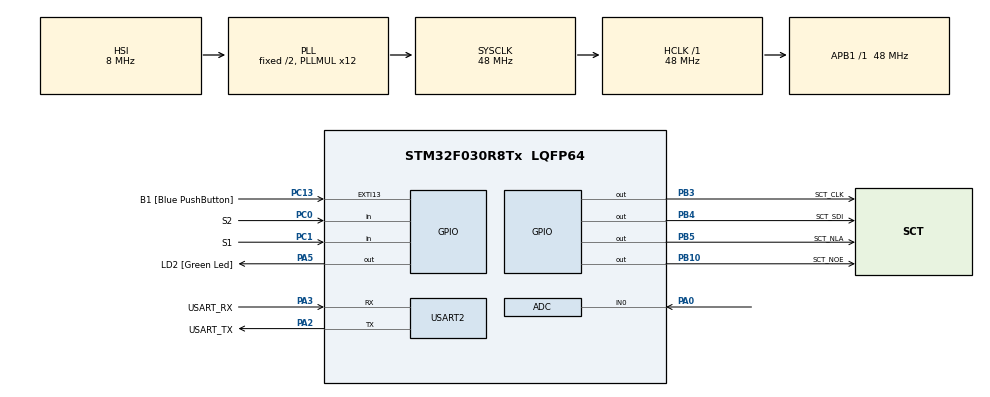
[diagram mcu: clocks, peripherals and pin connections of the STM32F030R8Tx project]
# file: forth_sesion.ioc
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ADC.ContinuousConvMode=ENABLE
ADC.Overrun=ADC_OVR_DATA_OVERWRITTEN
ADC.SamplingTime=ADC_SAMPLETIME_239CYCLES_5
Mcu.Family=STM32F0
Mcu.Name=STM32F030R8Tx
Mcu.Package=LQFP64
NVIC.ADC1_IRQn=true\:0\:0\:false\:false\:true\:true\:true\:true
PA0.Mode=IN0
PA0.Signal=ADC_IN0
PA13.GPIO_Label=TMS
PA13.Mode=Serial_Wire
PA13.Signal=SYS_SWDIO
PA14.GPIO_Label=TCK
PA14.Mode=Serial_Wire
PA14.Signal=SYS_SWCLK
PA2.GPIO_Label=USART_TX
PA2.GPIO_Mode=GPIO_MODE_AF_PP
PA2.GPIO_PuPd=GPIO_NOPULL
PA2.GPIO_Speed=GPIO_SPEED_FREQ_LOW
PA2.Mode=Asynchronous
PA2.Signal=USART2_TX
PA3.GPIO_Label=USART_RX
PA3.GPIO_Mode=GPIO_MODE_AF_PP
PA3.GPIO_PuPd=GPIO_NOPULL
PA3.GPIO_Speed=GPIO_SPEED_FREQ_LOW
PA3.Mode=Asynchronous
PA3.Signal=USART2_RX
PA5.GPIO_Label=LD2 [Green Led]
PA5.GPIO_Mode=GPIO_MODE_OUTPUT_PP
PA5.GPIO_PuPd=GPIO_NOPULL
PA5.GPIO_Speed=GPIO_SPEED_FREQ_LOW
PA5.Signal=GPIO_Output
PB10.GPIO_Label=SCT_NOE
PB10.Signal=GPIO_Output
PB3.GPIO_Label=SCT_CLK
PB3.Signal=GPIO_Output
PB4.GPIO_Label=SCT_SDI
PB4.Signal=GPIO_Output
PB5.GPIO_Label=SCT_NLA
PB5.Signal=GPIO_Output
PC0.GPIO_Label=S2
PC0.GPIO_PuPd=GPIO_PULLUP
PC0.Signal=GPIO_Input
PC1.GPIO_Label=S1
PC1.GPIO_PuPd=GPIO_PULLUP
PC1.Signal=GPIO_Input
PC13.GPIO_Label=B1 [Blue PushButton]
PC13.GPIO_ModeDefaultEXTI=GPIO_MODE_IT_FALLING
PC13.Signal=GPXTI13
PC14-OSC32_IN.Mode=LSE-External-Oscillator
PC14-OSC32_IN.Signal=RCC_OSC32_IN
PC15-OSC32_OUT.Mode=LSE-External-Oscillator
PC15-OSC32_OUT.Signal=RCC_OSC32_OUT
PF0-OSC_IN.Mode=HSE-External-Clock-Source
PF0-OSC_IN.Signal=RCC_OSC_IN
PF1-OSC_OUT.Signal=RCC_OSC_OUT
ProjectManager.HeapSize=0x200
ProjectManager.StackSize=0x400
ProjectManager.TargetToolchain=STM32CubeIDE
RCC.AHBFreq_Value=48000000
RCC.APB1Freq_Value=48000000
RCC.APB1TimFreq_Value=48000000
RCC.HCLKFreq_Value=48000000
RCC.PLLMUL=RCC_PLL_MUL12
RCC.SYSCLKFreq_VALUE=48000000
RCC.SYSCLKSource=RCC_SYSCLKSOURCE_PLLCLK
USART2.VirtualMode-Asynchronous=VM_ASYNC
VP_ADC_TempSens_Input.Mode=IN-TempSens
VP_ADC_Vref_Input.Mode=IN-Vrefint
board=NUCLEO-F030R8

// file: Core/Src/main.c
/* USER CODE BEGIN Header */
/**
 ******************************************************************************
 * @file           : main.c
 * @brief          : Main program body
 ******************************************************************************
 * @attention
 *
 * Copyright (c) 2024 STMicroelectronics.
 * All rights reserved.
 *
 * This software is licensed under terms that can be found in the LICENSE file
 * in the root directory of this software component.
 * If no LICENSE file comes with this software, it is provided AS-IS.
 *
 ******************************************************************************
 */
/* USER CODE END Header */
#include "main.h"

/* USER CODE BEGIN Includes */
#include "sct.h"
/* USER CODE END Includes */

/* USER CODE BEGIN PD */
#define DebounceDelay 50
/* Temperature sensor calibration value address */
#define TEMP110_CAL_ADDR ((uint16_t*) ((uint32_t) 0x1FFFF7C2))
#define TEMP30_CAL_ADDR ((uint16_t*) ((uint32_t) 0x1FFFF7B8))
#define VREFINT_CAL_ADDR ((uint16_t*) ((uint32_t) 0x1FFFF7BA))

/* USER CODE END PD */

ADC_HandleTypeDef hadc;

UART_HandleTypeDef huart2;

/* USER CODE BEGIN PV */
static volatile uint32_t raw_pot = 0;
static volatile uint32_t raw_volt;
static volatile uint32_t raw_temp;
static enum { SHOW_POT, SHOW_VOLT, SHOW_TEMP, SHOW_HAZARD } state = SHOW_POT;

/* USER CODE END PV */

void SystemClock_Config(void);
static void MX_GPIO_Init(void);
static void MX_USART2_UART_Init(void);
static void MX_ADC_Init(void);

/* USER CODE BEGIN 0 */
void HAL_ADC_ConvCpltCallback(ADC_HandleTypeDef* hadc)
{
	static uint32_t avg_pot;
	static uint8_t chanel;

	if (chanel== 0){
		raw_pot = avg_pot >> 12;
		avg_pot -= raw_pot;
		avg_pot += HAL_ADC_GetValue(hadc);
	}else if (chanel == 1) {
		raw_temp = HAL_ADC_GetValue(hadc);
	}else if (chanel == 2) {
		raw_volt = HAL_ADC_GetValue(hadc);
	}
	if(__HAL_ADC_GET_FLAG(hadc,ADC_FLAG_EOC)) chanel = 0;
	else chanel++;

}

void display (void){
	if (state == SHOW_POT){
		sct_value(raw_pot*500.9/4095, raw_pot*9/4095 );
	}
	if (state == SHOW_TEMP){
		int32_t temperature = (raw_temp - (int32_t)(*TEMP30_CAL_ADDR));
		temperature = temperature * (int32_t)(110 - 30);
		temperature = temperature / (int32_t)(*TEMP110_CAL_ADDR - *TEMP30_CAL_ADDR);
		temperature = temperature + 30;
		sct_value(temperature, 0);
	}
	if (state == SHOW_VOLT){
		uint32_t voltage = 330 * (*VREFINT_CAL_ADDR) / raw_volt;
		sct_value(voltage, 0);
	}
	if (state == SHOW_HAZARD){
		sct_value(888,10);
	}
}

/* USER CODE END 0 */

int main(void)
{

  /* MCU Configuration--------------------------------------------------------*/

  /* Reset of all peripherals, Initializes the Flash interface and the Systick. */
  HAL_Init();

  /* Configure the system clock */
  SystemClock_Config();

  /* Initialize all configured peripherals */
  MX_GPIO_Init();
  MX_USART2_UART_Init();
  MX_ADC_Init();
  /* USER CODE BEGIN 2 */
	HAL_ADCEx_Calibration_Start(&hadc);
	HAL_ADC_Start_IT(&hadc);

	sct_init();
  /* USER CODE END 2 */

  /* Infinite loop */
  /* USER CODE BEGIN WHILE */
	while (1)
	{
		static uint32_t old_s2;
		static uint32_t old_s1;
		static uint8_t btn1 = 0;
		static uint8_t btn2 = 0;
		volatile uint32_t current_time = HAL_GetTick(); // Get the current system tick
		volatile uint32_t last_time = 0;

		if ((current_time - last_time)>DebounceDelay){

			uint32_t new_s2 = HAL_GPIO_ReadPin(S2_GPIO_Port, S2_Pin);
			if (old_s2 && !new_s2) { // falling edge
				btn2 = 1;
			}
			old_s2 = new_s2;
			uint32_t new_s1 = HAL_GPIO_ReadPin(S1_GPIO_Port, S1_Pin);
			if (old_s1 && !new_s1) { // falling edge
				btn1 = 1;
			}
			old_s1 = new_s1;
			last_time = current_time;
		}

		if (btn1 ==1 & btn2 == 0 ){
			state = SHOW_VOLT;
			display();
			HAL_Delay(1000);
			btn1 =0;

		}else if (btn1 ==0 & btn2 ==1 ){
			state = SHOW_TEMP;
			display();
			HAL_Delay(1000);
			btn2 =0;
		}else if (btn1 == 1 & btn2 == 1) {
		state = SHOW_HAZARD;
		display();
		HAL_Delay(1000);
		btn1 = 0;
		btn2 = 0;
		}
		state=SHOW_POT;
		display();
		HAL_Delay(50);
    /* USER CODE END WHILE */

	}
}

void SystemClock_Config(void)
{
  RCC_OscInitTypeDef RCC_OscInitStruct = {0};
  RCC_ClkInitTypeDef RCC_ClkInitStruct = {0};

  /** Initializes the RCC Oscillators according to the specified parameters
  * in the RCC_OscInitTypeDef structure.
  */
  RCC_OscInitStruct.OscillatorType = RCC_OSCILLATORTYPE_HSI|RCC_OSCILLATORTYPE_HSI14;
  RCC_OscInitStruct.HSIState = RCC_HSI_ON;
  RCC_OscInitStruct.HSI14State = RCC_HSI14_ON;
  RCC_OscInitStruct.HSICalibrationValue = RCC_HSICALIBRATION_DEFAULT;
  RCC_OscInitStruct.HSI14CalibrationValue = 16;
  RCC_OscInitStruct.PLL.PLLState = RCC_PLL_ON;
  RCC_OscInitStruct.PLL.PLLSource = RCC_PLLSOURCE_HSI;
  RCC_OscInitStruct.PLL.PLLMUL = RCC_PLL_MUL12;
  RCC_OscInitStruct.PLL.PREDIV = RCC_PREDIV_DIV1;
  if (HAL_RCC_OscConfig(&RCC_OscInitStruct) != HAL_OK)
  {
    Error_Handler();
  }

  /** Initializes the CPU, AHB and APB buses clocks
  */
  RCC_ClkInitStruct.ClockType = RCC_CLOCKTYPE_HCLK|RCC_CLOCKTYPE_SYSCLK
                              |RCC_CLOCKTYPE_PCLK1;
  RCC_ClkInitStruct.SYSCLKSource = RCC_SYSCLKSOURCE_PLLCLK;
  RCC_ClkInitStruct.AHBCLKDivider = RCC_SYSCLK_DIV1;
  RCC_ClkInitStruct.APB1CLKDivider = RCC_HCLK_DIV1;

  if (HAL_RCC_ClockConfig(&RCC_ClkInitStruct, FLASH_LATENCY_1) != HAL_OK)
  {
    Error_Handler();
  }
}

static void MX_ADC_Init(void)
{

  ADC_ChannelConfTypeDef sConfig = {0};

  /** Configure the global features of the ADC (Clock, Resolution, Data Alignment and number of conversion)
  */
  hadc.Instance = ADC1;
  hadc.Init.ClockPrescaler = ADC_CLOCK_ASYNC_DIV1;
  hadc.Init.Resolution = ADC_RESOLUTION_12B;
  hadc.Init.DataAlign = ADC_DATAALIGN_RIGHT;
  hadc.Init.ScanConvMode = ADC_SCAN_DIRECTION_FORWARD;
  hadc.Init.EOCSelection = ADC_EOC_SINGLE_CONV;
  hadc.Init.LowPowerAutoWait = DISABLE;
  hadc.Init.LowPowerAutoPowerOff = DISABLE;
  hadc.Init.ContinuousConvMode = ENABLE;
  hadc.Init.DiscontinuousConvMode = DISABLE;
  hadc.Init.ExternalTrigConv = ADC_SOFTWARE_START;
  hadc.Init.ExternalTrigConvEdge = ADC_EXTERNALTRIGCONVEDGE_NONE;
  hadc.Init.DMAContinuousRequests = DISABLE;
  hadc.Init.Overrun = ADC_OVR_DATA_OVERWRITTEN;
  if (HAL_ADC_Init(&hadc) != HAL_OK)
  {
    Error_Handler();
  }

  /** Configure for the selected ADC regular channel to be converted.
  */
  sConfig.Channel = ADC_CHANNEL_0;
  sConfig.Rank = ADC_RANK_CHANNEL_NUMBER;
  sConfig.SamplingTime = ADC_SAMPLETIME_239CYCLES_5;
  if (HAL_ADC_ConfigChannel(&hadc, &sConfig) != HAL_OK)
  {
    Error_Handler();
  }

  /** Configure for the selected ADC regular channel to be converted.
  */
  sConfig.Channel = ADC_CHANNEL_TEMPSENSOR;
  if (HAL_ADC_ConfigChannel(&hadc, &sConfig) != HAL_OK)
  {
    Error_Handler();
  }

  /** Configure for the selected ADC regular channel to be converted.
  */
  sConfig.Channel = ADC_CHANNEL_VREFINT;
  if (HAL_ADC_ConfigChannel(&hadc, &sConfig) != HAL_OK)
  {
    Error_Handler();
  }

}

static void MX_USART2_UART_Init(void)
{

  huart2.Instance = USART2;
  huart2.Init.BaudRate = 38400;
  huart2.Init.WordLength = UART_WORDLENGTH_8B;
  huart2.Init.StopBits = UART_STOPBITS_1;
  huart2.Init.Parity = UART_PARITY_NONE;
  huart2.Init.Mode = UART_MODE_TX_RX;
  huart2.Init.HwFlowCtl = UART_HWCONTROL_NONE;
  huart2.Init.OverSampling = UART_OVERSAMPLING_16;
  huart2.Init.OneBitSampling = UART_ONE_BIT_SAMPLE_DISABLE;
  huart2.AdvancedInit.AdvFeatureInit = UART_ADVFEATURE_NO_INIT;
  if (HAL_UART_Init(&huart2) != HAL_OK)
  {
    Error_Handler();
  }

}

static void MX_GPIO_Init(void)
{
  GPIO_InitTypeDef GPIO_InitStruct = {0};

  /* GPIO Ports Clock Enable */
  __HAL_RCC_GPIOC_CLK_ENABLE();
  __HAL_RCC_GPIOF_CLK_ENABLE();
  __HAL_RCC_GPIOA_CLK_ENABLE();
  __HAL_RCC_GPIOB_CLK_ENABLE();

  /*Configure GPIO pin Output Level */
  HAL_GPIO_WritePin(LD2_GPIO_Port, LD2_Pin, GPIO_PIN_RESET);

  /*Configure GPIO pin Output Level */
  HAL_GPIO_WritePin(GPIOB, SCT_NOE_Pin|SCT_CLK_Pin|SCT_SDI_Pin|SCT_NLA_Pin, GPIO_PIN_RESET);

  /*Configure GPIO pin : B1_Pin */
  GPIO_InitStruct.Pin = B1_Pin;
  GPIO_InitStruct.Mode = GPIO_MODE_IT_FALLING;
  GPIO_InitStruct.Pull = GPIO_NOPULL;
  HAL_GPIO_Init(B1_GPIO_Port, &GPIO_InitStruct);

  /*Configure GPIO pins : S2_Pin S1_Pin */
  GPIO_InitStruct.Pin = S2_Pin|S1_Pin;
  GPIO_InitStruct.Mode = GPIO_MODE_INPUT;
  GPIO_InitStruct.Pull = GPIO_PULLUP;
  HAL_GPIO_Init(GPIOC, &GPIO_InitStruct);

  /*Configure GPIO pin : LD2_Pin */
  GPIO_InitStruct.Pin = LD2_Pin;
  GPIO_InitStruct.Mode = GPIO_MODE_OUTPUT_PP;
  GPIO_InitStruct.Pull = GPIO_NOPULL;
  GPIO_InitStruct.Speed = GPIO_SPEED_FREQ_LOW;
  HAL_GPIO_Init(LD2_GPIO_Port, &GPIO_InitStruct);

  /*Configure GPIO pins : SCT_NOE_Pin SCT_CLK_Pin SCT_SDI_Pin SCT_NLA_Pin */
  GPIO_InitStruct.Pin = SCT_NOE_Pin|SCT_CLK_Pin|SCT_SDI_Pin|SCT_NLA_Pin;
  GPIO_InitStruct.Mode = GPIO_MODE_OUTPUT_PP;
  GPIO_InitStruct.Pull = GPIO_NOPULL;
  GPIO_InitStruct.Speed = GPIO_SPEED_FREQ_LOW;
  HAL_GPIO_Init(GPIOB, &GPIO_InitStruct);

}

void Error_Handler(void)
{
	__disable_irq();
	while (1)
	{
	}
}
